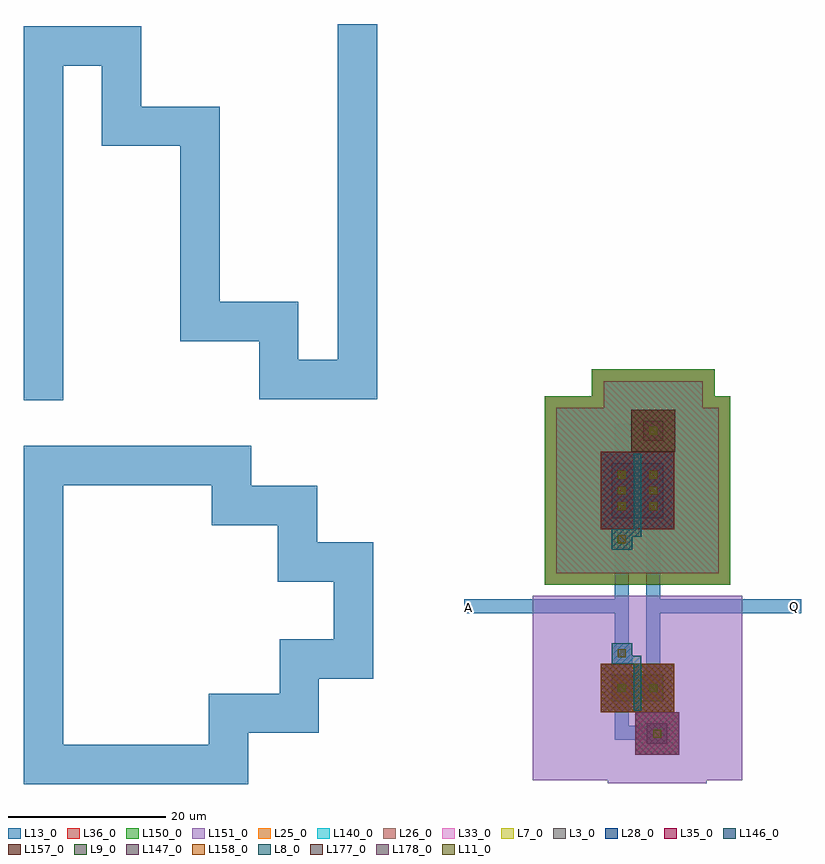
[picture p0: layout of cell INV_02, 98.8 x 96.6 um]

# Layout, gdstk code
import gdstk
lib = gdstk.Library(unit=1e-6, precision=1e-07)
def R(c, l, rs):  # rectangles x0, y0, x1, y1
    for r in rs: c.add(gdstk.rectangle(r[:2], r[2:], *l))
L3_0 = (3, 0)
L7_0 = (7, 0)
L8_0 = (8, 0)
L9_0 = (9, 0)
L11_0 = (11, 0)
L13_0 = (13, 0)
L25_0 = (25, 0)
L26_0 = (26, 0)
L28_0 = (28, 0)
L33_0 = (33, 0)
L35_0 = (35, 0)
L36_0 = (36, 0)
L140_0 = (140, 0)
L146_0 = (146, 0)
L147_0 = (147, 0)
L150_0 = (150, 0)
L151_0 = (151, 0)
L157_0 = (157, 0)
L158_0 = (158, 0)
L177_0 = (177, 0)
L178_0 = (178, 0)

dcont = lib.new_cell('dcont')
R(dcont, L3_0, [(-1.3,-1.3,1.3,1.3)])
R(dcont, L11_0, [(-0.5,-0.5,0.5,0.5)])
R(dcont, L13_0, [(-1.3,-1.3,1.3,1.3), (-0.5,-0.5,0.5,0.5)])

pcont = lib.new_cell('pcont')
R(pcont, L8_0, [(-1.3,-1.3,1.3,1.3)])
R(pcont, L11_0, [(-0.5,-0.5,0.5,0.5)])
R(pcont, L13_0, [(-1.3,-1.3,1.3,1.3), (-0.5,-0.5,0.5,0.5)])

c_dcont = lib.new_cell('DCONT')
R(c_dcont, L3_0, [(-1.3,-1.3,1.3,1.3)])
R(c_dcont, L11_0, [(-0.5,-0.5,0.5,0.5)])
R(c_dcont, L13_0, [(-1.3,-1.3,1.3,1.3), (-0.5,-0.5,0.5,0.5)])

nsubcont = lib.new_cell('nsubcont')
R(nsubcont, L7_0, [(-2.8,-2.7,2.8,2.7)])
R(nsubcont, L9_0, [(-2.8,-2.7,2.8,2.7)])
R(nsubcont, L25_0, [(-6.3,-6.3,6.3,6.3)])
R(nsubcont, L26_0, [(-6.3,-6.3,6.3,6.3)])
R(nsubcont, L33_0, [(-2.8,-2.7,2.8,2.7)])
R(nsubcont, L35_0, [(-2.8,-2.7,2.8,2.7)])
R(nsubcont, L36_0, [(-7.8,-7.8,7.8,7.8)])
R(nsubcont, L140_0, [(-6.3,-6.3,6.3,6.3)])
R(nsubcont, L150_0, [(-7.8,-7.8,7.8,7.8)])
R(nsubcont, L177_0, [(-2.8,-2.7,2.8,2.7)])
nsubcont.add(gdstk.Reference(c_dcont, (0,0)))

c_mp = lib.new_cell('MP')
R(c_mp, L3_0, [(0,3.6,6.6,10.6)])
R(c_mp, L7_0, [(-1.4,2.2,8,12)])
R(c_mp, L25_0, [(-7,-3.4,13.6,17.6)])
R(c_mp, L26_0, [(-7,-3.4,13.6,17.6)])
R(c_mp, L28_0, [(-1.4,2.2,8,12)])
R(c_mp, L33_0, [(-1.4,2.2,8,12)])
R(c_mp, L36_0, [(-8.5,-4.9,15.1,19.1)])
R(c_mp, L140_0, [(-7,-3.4,13.6,17.6)])
R(c_mp, L146_0, [(-1.4,2.2,8,12)])
R(c_mp, L150_0, [(-8.5,-4.9,15.1,19.1)])
R(c_mp, L157_0, [(-1.4,2.2,8,12)])
c_mp.add(gdstk.FlexPath([(1.3,3.6),(1.3,10.6)], 2.6, ends="flush", simple_path=True, layer=13, datatype=0))  # L13_0
c_mp.add(gdstk.FlexPath([(5.3,3.6),(5.3,10.6)], 2.6, ends="flush", simple_path=True, layer=13, datatype=0))  # L13_0
c_mp.add(gdstk.FlexPath([(1.3,9.6),(1.3,12.9)], 1.8, ends="flush", simple_path=True, layer=13, datatype=0))  # L13_0
c_mp.add(gdstk.FlexPath([(5.3,1.3),(5.3,4.6)], 1.8, ends="flush", simple_path=True, layer=13, datatype=0))  # L13_0
c_mp.add(gdstk.FlexPath([(3.3,3.6),(3.3,10.6)], 1, ends=(1.2, 1.2), simple_path=True, layer=8, datatype=0))  # L8_0
c_mp.add(gdstk.FlexPath([(1.3,1.7),(3.3,1.7),(3.3,2.4)], 1, ends="flush", simple_path=True, layer=8, datatype=0))  # L8_0
c_mp.add(gdstk.Reference(dcont, (1.3,5.1)))
c_mp.add(gdstk.Reference(dcont, (1.3,7.1)))
c_mp.add(gdstk.Reference(dcont, (1.3,9.1)))
c_mp.add(gdstk.Reference(dcont, (5.3,5.1)))
c_mp.add(gdstk.Reference(dcont, (5.3,7.1)))
c_mp.add(gdstk.Reference(dcont, (5.3,9.1)))
c_mp.add(gdstk.Reference(pcont, (1.3,0.9)))
c_mp.add(gdstk.Reference(nsubcont, (5.3,14.7)))

psubcont = lib.new_cell('psubcont')
R(psubcont, L7_0, [(-2.8,-2.7,2.8,2.7)])
R(psubcont, L28_0, [(-2.8,-2.7,2.8,2.7)])
R(psubcont, L33_0, [(-2.8,-2.7,2.8,2.7)])
R(psubcont, L35_0, [(-2.8,-2.7,2.8,2.7)])
R(psubcont, L151_0, [(-6.3,-6.3,6.3,6.3)])
R(psubcont, L178_0, [(-2.8,-2.7,2.8,2.7)])
psubcont.add(gdstk.Reference(c_dcont, (0,0)))

mn_1 = lib.new_cell('MN$1')
R(mn_1, L3_0, [(0,3.6,6.6,7)])
R(mn_1, L9_0, [(-1.4,2.2,8,8.4)])
R(mn_1, L33_0, [(-1.4,2.2,8,8.4)])
R(mn_1, L35_0, [(-1.4,2.2,8,8.4)])
R(mn_1, L147_0, [(-1.4,2.2,8,8.4)])
R(mn_1, L151_0, [(-10,-6.4,16.6,17)])
R(mn_1, L158_0, [(-1.4,2.2,8,8.4)])
mn_1.add(gdstk.FlexPath([(1.3,3.6),(1.3,7)], 2.6, ends="flush", simple_path=True, layer=13, datatype=0))  # L13_0
mn_1.add(gdstk.FlexPath([(5.3,3.6),(5.3,7)], 2.6, ends="flush", simple_path=True, layer=13, datatype=0))  # L13_0
mn_1.add(gdstk.FlexPath([(1.3,1.3),(1.3,4.6)], 1.8, ends="flush", simple_path=True, layer=13, datatype=0))  # L13_0
mn_1.add(gdstk.FlexPath([(5.3,6),(5.3,9.3)], 1.8, ends="flush", simple_path=True, layer=13, datatype=0))  # L13_0
mn_1.add(gdstk.FlexPath([(3.3,3.6),(3.3,7)], 1, ends=(1.2, 1.2), simple_path=True, layer=8, datatype=0))  # L8_0
mn_1.add(gdstk.FlexPath([(1.3,8.9),(3.3,8.9),(3.3,8.2)], 1, ends="flush", simple_path=True, layer=8, datatype=0))  # L8_0
mn_1.add(gdstk.Reference(dcont, (1.3,5.3)))
mn_1.add(gdstk.Reference(dcont, (5.3,5.3)))
mn_1.add(gdstk.Reference(pcont, (1.3,9.7)))
mn_1.add(gdstk.Reference(psubcont, (5.8,-0.5)))

inv_02 = lib.new_cell('INV_02')
inv_02.add(gdstk.FlexPath([(-48.8,20.9),(-48.8,65.9),(-38.9,65.9),(-38.9,55.7),(-28.9,55.7),(-28.9,30.9),(-18.9,30.9),(-18.9,23.5),(-8.9,23.5),(-8.9,68.7)], 5, ends="flush", simple_path=True, layer=13, datatype=0))  # L13_0
inv_02.add(gdstk.FlexPath([(-48.8,-25.5),(-48.8,12.6),(-24.9,12.6),(-24.9,7.5),(-16.5,7.5),(-16.5,0.3),(-9.4,0.3),(-9.4,-12),(-16.3,-12),(-16.3,-18.9),(-25.3,-18.9),(-25.3,-25.4),(-51.3,-25.4)], 5, ends="flush", simple_path=True, layer=13, datatype=0))  # L13_0
inv_02.add(gdstk.FlexPath([(24.7,3.3),(24.7,-11.5)], 1.8, ends="flush", simple_path=True, layer=13, datatype=0))  # L13_0
inv_02.add(gdstk.FlexPath([(28.7,4.3),(28.7,-12.9)], 1.8, ends="flush", simple_path=True, layer=13, datatype=0))  # L13_0
inv_02.add(gdstk.FlexPath([(24.7,-18.8),(24.7,-21.4),(29.7,-21.4)], 1.8, ends="flush", simple_path=True, layer=13, datatype=0))  # L13_0
inv_02.add(gdstk.FlexPath([(24.7,14.6),(24.7,17),(28.7,17)], 1.8, ends="flush", simple_path=True, layer=13, datatype=0))  # L13_0
inv_02.add(gdstk.FlexPath([(28.7,-5.3),(47.5,-5.3)], 1.8, ends="flush", simple_path=True, layer=13, datatype=0))  # L13_0
inv_02.add(gdstk.FlexPath([(24.7,-5.3),(4.7,-5.3)], 1.8, ends="flush", simple_path=True, layer=13, datatype=0))  # L13_0
inv_02.add(gdstk.Reference(c_mp, (23.4,2.3)))
inv_02.add(gdstk.Reference(mn_1, (23.4,-21)))
inv_02.add(gdstk.Label('Q', (46.6,-5.3), layer=13, texttype=0))
inv_02.add(gdstk.Label('Q', (46.6,-5.3), layer=13, texttype=0))
inv_02.add(gdstk.Label('A', (5.2,-5.5), layer=13, texttype=0))

lib.write_gds('INV_02.gds')
